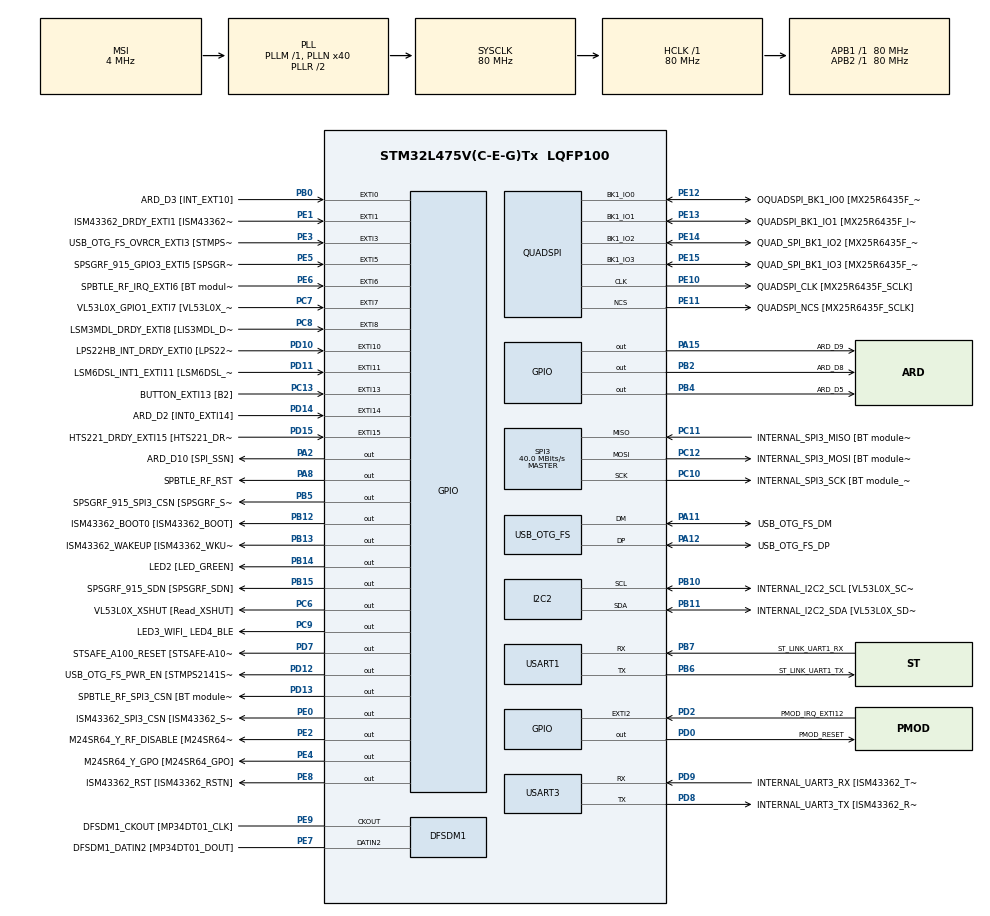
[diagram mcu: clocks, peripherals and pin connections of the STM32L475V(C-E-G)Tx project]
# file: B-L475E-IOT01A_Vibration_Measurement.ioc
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Dma.Request0=USART1_TX
Dma.USART1_TX.0.Direction=DMA_MEMORY_TO_PERIPH
Dma.USART1_TX.0.Instance=DMA1_Channel4
Dma.USART1_TX.0.MemDataAlignment=DMA_MDATAALIGN_BYTE
Dma.USART1_TX.0.MemInc=DMA_MINC_ENABLE
Dma.USART1_TX.0.Mode=DMA_NORMAL
Dma.USART1_TX.0.PeriphDataAlignment=DMA_PDATAALIGN_BYTE
Dma.USART1_TX.0.PeriphInc=DMA_PINC_DISABLE
Dma.USART1_TX.0.Priority=DMA_PRIORITY_HIGH
I2C2.Timing=0x10909CEC
Mcu.Family=STM32L4
Mcu.Name=STM32L475V(C-E-G)Tx
Mcu.Package=LQFP100
NVIC.DMA1_Channel4_IRQn=true\:0\:0\:false\:false\:true\:false\:true
NVIC.EXTI15_10_IRQn=true\:0\:0\:false\:false\:true\:true\:true
NVIC.EXTI9_5_IRQn=true\:0\:0\:false\:false\:true\:true\:true
NVIC.PriorityGroup=NVIC_PRIORITYGROUP_4
NVIC.TIM6_DAC_IRQn=true\:0\:0\:false\:false\:true\:true\:true
NVIC.USART1_IRQn=true\:0\:0\:false\:false\:true\:true\:true
PA0.GPIO_Label=ARD_D1 [UART4_TX]
PA0.Signal=UART4_TX
PA1.GPIO_Label=ARD_D0 [UART4_RX]
PA1.Signal=UART4_RX
PA10.GPIO_Label=USB_OTG_FS_ID
PA10.Signal=USB_OTG_FS_ID
PA11.GPIO_Label=USB_OTG_FS_DM
PA11.Mode=Device_Only
PA11.Signal=USB_OTG_FS_DM
PA12.GPIO_Label=USB_OTG_FS_DP
PA12.Mode=Device_Only
PA12.Signal=USB_OTG_FS_DP
PA13\ (JTMS-SWDIO).GPIO_Label=SYS_JTMS_SWDIO
PA13\ (JTMS-SWDIO).Mode=Serial_Wire
PA13\ (JTMS-SWDIO).Signal=SYS_JTMS-SWDIO
PA14\ (JTCK-SWCLK).GPIO_Label=SYS_JTCK_SWCLK
PA14\ (JTCK-SWCLK).Mode=Serial_Wire
PA14\ (JTCK-SWCLK).Signal=SYS_JTCK-SWCLK
PA15\ (JTDI).GPIO_Label=ARD_D9
PA15\ (JTDI).Signal=GPIO_Output
PA2.GPIO_Label=ARD_D10 [SPI_SSN]
PA2.Signal=GPIO_Output
PA3.GPIO_Label=ARD_D4
PA3.Signal=S_TIM2_CH4
PA4.GPIO_Label=ARD_D7
PA4.Signal=ADCx_IN9
PA5.GPIO_Label=ARD_D13 [SPI1_SCK]
PA5.Signal=SPI1_SCK
PA6.GPIO_Label=ARD_D12 [SPI1_MISO]
PA6.Signal=SPI1_MISO
PA7.GPIO_Label=ARD_D11 [SPI1_MOSI]
PA7.Signal=SPI1_MOSI
PA8.GPIO_Label=SPBTLE_RF_RST
PA8.Signal=GPIO_Output
PA9.GPIO_Label=USB_OTG_FS_VBUS [STMPS2141STR_OUT]
PA9.Signal=USB_OTG_FS_VBUS
PB0.GPIO_Label=ARD_D3 [INT_EXT10]
PB0.Signal=GPXTI0
PB1.GPIO_Label=ARD_D6 [ADC1_IN6]
PB1.Signal=ADCx_IN16
PB10.GPIO_Label=INTERNAL_I2C2_SCL [VL53L0X_SCL]
PB10.GPIO_Pu=GPIO_PULLUP
PB10.Mode=I2C
PB10.Signal=I2C2_SCL
PB11.GPIO_Label=INTERNAL_I2C2_SDA [VL53L0X_SDA]
PB11.GPIO_Pu=GPIO_PULLUP
PB11.Mode=I2C
PB11.Signal=I2C2_SDA
PB12.GPIO_Label=ISM43362_BOOT0 [ISM43362_BOOT]
PB12.Signal=GPIO_Output
PB13.GPIO_Label=ISM43362_WAKEUP [ISM43362_WKUP]
PB13.Signal=GPIO_Output
PB14.GPIO_Label=LED2 [LED_GREEN]
PB14.Signal=GPIO_Output
PB15.GPIO_Label=SPSGRF_915_SDN [SPSGRF_SDN]
PB15.Signal=GPIO_Output
PB2.GPIO_Label=ARD_D8
PB2.Signal=GPIO_Output
PB3\ (JTDO-TRACESWO).GPIO_Label=SYS_JTD0_SWO
PB3\ (JTDO-TRACESWO).Signal=SYS_JTDO-SWO
PB4\ (NJTRST).GPIO_Label=ARD_D5
PB4\ (NJTRST).Signal=GPIO_Output
PB5.GPIO_Label=SPSGRF_915_SPI3_CSN [SPSGRF_SPI_CS]
PB5.PinState=GPIO_PIN_SET
PB5.Signal=GPIO_Output
PB6.GPIO_Label=ST_LINK_UART1_TX
PB6.Mode=Asynchronous
PB6.Signal=USART1_TX
PB7.GPIO_Label=ST_LINK_UART1_RX
PB7.Mode=Asynchronous
PB7.Signal=USART1_RX
PB8.GPIO_Label=ARD_D15 [I2C1_SCL]
PB8.Signal=I2C1_SCL
PB9.GPIO_Label=ARD_D14 [I2C1_SDA]
PB9.Signal=I2C1_SDA
PC0.GPIO_Label=ARD_A5 [ADC]
PC0.Signal=ADCx_IN1
PC1.GPIO_Label=ARD_A4 [ADC]
PC1.Signal=ADCx_IN2
PC10.GPIO_Label=INTERNAL_SPI3_SCK [BT module_SPI_SCLK] [ISM43362_SCK]
PC10.Mode=Full_Duplex_Master
PC10.Signal=SPI3_SCK
PC11.GPIO_Label=INTERNAL_SPI3_MISO [BT module_SPI_MISO] [ISM43362_MISO]
PC11.Mode=Full_Duplex_Master
PC11.Signal=SPI3_MISO
PC12.GPIO_Label=INTERNAL_SPI3_MOSI [BT module_SPI_MOSI] [ISM43362_MOSI]
PC12.Mode=Full_Duplex_Master
PC12.Signal=SPI3_MOSI
PC13.GPIO_Label=BUTTON_EXTI13 [B2]
PC13.GPIO_ModeDefaultEXTI=GPIO_MODE_IT_FALLING
PC13.Signal=GPXTI13
PC14-OSC32_IN\ (PC14).Mode=LSE-External-Oscillator
PC14-OSC32_IN\ (PC14).Signal=RCC_OSC32_IN
PC15-OSC32_OUT\ (PC15).Mode=LSE-External-Oscillator
PC15-OSC32_OUT\ (PC15).Signal=RCC_OSC32_OUT
PC2.GPIO_Label=ARD_A3 [ADC]
PC2.Signal=ADCx_IN3
PC3.GPIO_Label=ARD_A2 [ADC]
PC3.Signal=ADCx_IN4
PC4.GPIO_Label=ARD_A1 [ADC]
PC4.Signal=ADCx_IN13
PC5.GPIO_Label=ARD_A0 [ADC]
PC5.Signal=ADCx_IN14
PC6.GPIO_Label=VL53L0X_XSHUT [Read_XSHUT]
PC6.Signal=GPIO_Output
PC7.GPIO_Label=VL53L0X_GPIO1_EXTI7 [VL53L0X_GPIO1]
PC7.Signal=GPXTI7
PC8.GPIO_Label=LSM3MDL_DRDY_EXTI8 [LIS3MDL_DRDY]
PC8.Signal=GPXTI8
PC9.GPIO_Label=LED3_WIFI_ LED4_BLE
PC9.Signal=GPIO_Output
PD0.GPIO_Label=PMOD_RESET
PD0.Signal=GPIO_Output
PD1.GPIO_Label=PMOD_SPI2_SCK
PD1.Signal=SPI2_SCK
PD10.GPIO_Label=LPS22HB_INT_DRDY_EXTI0 [LPS22HB_INT_DRDY] 
PD10.Signal=GPXTI10
PD11.GPIO_Label=LSM6DSL_INT1_EXTI11 [LSM6DSL_INT1]
PD11.Signal=GPXTI11
PD12.GPIO_Label=USB_OTG_FS_PWR_EN [STMPS2141STR_EN]
PD12.Signal=GPIO_Output
PD13.GPIO_Label=SPBTLE_RF_SPI3_CSN [BT module_SPI_CS]
PD13.PinState=GPIO_PIN_SET
PD13.Signal=GPIO_Output
PD14.GPIO_Label=ARD_D2 [INT0_EXTI14]
PD14.Signal=GPXTI14
PD15.GPIO_Label=HTS221_DRDY_EXTI15 [HTS221_DRDY]
PD15.Signal=GPXTI15
PD2.GPIO_Label=PMOD_IRQ_EXTI12
PD2.Signal=GPXTI2
PD3.GPIO_Label=PMOD_UART2_CTS
PD3.Signal=USART2_CTS
PD4.GPIO_Label=PMOD_UART2_RTS
PD4.Signal=USART2_RTS
PD5.GPIO_Label=PMOD_UART2_TX
PD5.Signal=USART2_TX
PD6.GPIO_Label=PMOD_UART2_RX
PD6.Signal=USART2_RX
PD7.GPIO_Label=STSAFE_A100_RESET [STSAFE-A100_RESET]
PD7.Signal=GPIO_Output
PD8.GPIO_Label=INTERNAL_UART3_TX [ISM43362_RX]
PD8.Mode=Asynchronous
PD8.Signal=USART3_TX
PD9.GPIO_Label=INTERNAL_UART3_RX [ISM43362_TX]
PD9.Mode=Asynchronous
PD9.Signal=USART3_RX
PE0.GPIO_Label=ISM43362_SPI3_CSN [ISM43362_SSN]
PE0.PinState=GPIO_PIN_SET
PE0.Signal=GPIO_Output
PE1.GPIO_Label=ISM43362_DRDY_EXTI1 [ISM43362_DATARDY]
PE1.Signal=GPXTI1
PE10.GPIO_Label=QUADSPI_CLK [MX25R6435F_SCLK]
PE10.Mode=Single Bank
PE10.Signal=QUADSPI_CLK
PE11.GPIO_Label=QUADSPI_NCS [MX25R6435F_SCLK]
PE11.Mode=Single Bank
PE11.Signal=QUADSPI_NCS
PE12.GPIO_Label=OQUADSPI_BK1_IO0 [MX25R6435F_IO0]
PE12.Mode=Single Bank
PE12.Signal=QUADSPI_BK1_IO0
PE13.GPIO_Label=QUADSPI_BK1_IO1 [MX25R6435F_IO1]
PE13.Mode=Single Bank
PE13.Signal=QUADSPI_BK1_IO1
PE14.GPIO_Label=QUAD_SPI_BK1_IO2 [MX25R6435F_IO2]
PE14.Mode=Single Bank
PE14.Signal=QUADSPI_BK1_IO2
PE15.GPIO_Label=QUAD_SPI_BK1_IO3 [MX25R6435F_IO3]
PE15.Mode=Single Bank
PE15.Signal=QUADSPI_BK1_IO3
PE2.GPIO_Label=M24SR64_Y_RF_DISABLE [M24SR64_RFDIS]
PE2.Signal=GPIO_Output
PE3.GPIO_Label=USB_OTG_FS_OVRCR_EXTI3 [STMPS2141STR_FAULT]
PE3.Signal=GPXTI3
PE4.GPIO_Label=M24SR64_Y_GPO [M24SR64_GPO]
PE4.Signal=GPIO_Output
PE5.GPIO_Label=SPSGRF_915_GPIO3_EXTI5 [SPSGRF_GPIO_3]
PE5.Signal=GPXTI5
PE6.GPIO_Label=SPBTLE_RF_IRQ_EXTI6 [BT module_SPI_IRQ]
PE6.Signal=GPXTI6
PE7.GPIO_Label=DFSDM1_DATIN2 [MP34DT01_DOUT]
PE7.Signal=S_DATAIN2DFSDM1
PE8.GPIO_Label=ISM43362_RST [ISM43362_RSTN]
PE8.Signal=GPIO_Output
PE9.GPIO_Label=DFSDM1_CKOUT [MP34DT01_CLK]
PE9.Signal=S_CKOUTDFSDM1
ProjectManager.HeapSize=0x200
ProjectManager.StackSize=0x400
ProjectManager.TargetToolchain=STM32CubeIDE
QUADSPI.ClockPrescaler=2
QUADSPI.FifoThreshold=4
QUADSPI.FlashSize=23
QUADSPI.SampleShifting=QSPI_SAMPLE_SHIFTING_HALFCYCLE
RCC.ADCFreq_Value=48000000
RCC.AHBFreq_Value=80000000
RCC.APB1Freq_Value=80000000
RCC.APB1TimFreq_Value=80000000
RCC.APB2Freq_Value=80000000
RCC.APB2TimFreq_Value=80000000
RCC.CortexFreq_Value=80000000
RCC.HCLKFreq_Value=80000000
RCC.HSE_VALUE=8000000
RCC.HSI_VALUE=16000000
RCC.MSI_VALUE=4000000
RCC.PLLN=40
RCC.PLLSAI1N=24
RCC.SYSCLKFreq_VALUE=80000000
RCC.SYSCLKSource=RCC_SYSCLKSOURCE_PLLCLK
RCC.USBFreq_Value=48000000
RCC.VCOOutputFreq_Value=160000000
SH.ADCx_IN1.0=ADC1_IN1
SH.ADCx_IN13.0=ADC1_IN13
SH.ADCx_IN14.0=ADC1_IN14
SH.ADCx_IN16.0=ADC1_IN16
SH.ADCx_IN2.0=ADC1_IN2
SH.ADCx_IN3.0=ADC1_IN3
SH.ADCx_IN4.0=ADC1_IN4
SH.ADCx_IN9.0=ADC1_IN9
SH.S_CKOUTDFSDM1.0=DFSDM1_CKOUT,CKOUT
SH.S_CKOUTDFSDM1.1=DFSDM1_CKOUT,PDM_SPI_Input_from_ch12_and_Internal_Clock
SH.S_DATAIN2DFSDM1.0=DFSDM1_DATIN2,PDM_SPI_Input_from_ch12_and_Internal_Clock
SH.S_TIM2_CH4.0=TIM2_CH4
SPI3.CalculateBaudRate=40.0 MBits/s
SPI3.Direction=SPI_DIRECTION_2LINES
SPI3.Mode=SPI_MODE_MASTER
SPI3.VirtualType=VM_MASTER
TIM6.AutoReloadPreload=TIM_AUTORELOAD_PRELOAD_ENABLE
TIM6.Period=399
TIM6.Prescaler=1999
USART1.VirtualMode-Asynchronous=VM_ASYNC
USART3.VirtualMode-Asynchronous=VM_ASYNC
USB_OTG_FS.VirtualMode=Device_Only
VP_TIM6_VS_ClockSourceINT.Mode=Enable_Timer
board=B-L475E-IOT01A1

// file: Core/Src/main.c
/* USER CODE BEGIN Header */
/**
  ******************************************************************************
  * @file           : main.c
  * @brief          : Main program body
  ******************************************************************************
  * @attention
  *
  * <h2><center>&copy; Copyright (c) 2021 STMicroelectronics.
  * All rights reserved.</center></h2>
  *
  * This software component is licensed by ST under BSD 3-Clause license,
  * the "License"; You may not use this file except in compliance with the
  * License. You may obtain a copy of the License at:
  *                        opensource.org/licenses/BSD-3-Clause
  *
  ******************************************************************************
  */
/* USER CODE END Header */
#include "main.h"

/* USER CODE BEGIN Includes */
#include "stm32l475e_iot01.h"
#include "stm32l475e_iot01_accelero.h"
#include "math.h"
#include "stdio.h"
#include "stdlib.h"
#include "string.h"
/* USER CODE END Includes */

DFSDM_Channel_HandleTypeDef hdfsdm1_channel1;

I2C_HandleTypeDef hi2c2;

QSPI_HandleTypeDef hqspi;

SPI_HandleTypeDef hspi3;

TIM_HandleTypeDef htim6;

UART_HandleTypeDef huart1;
UART_HandleTypeDef huart3;
DMA_HandleTypeDef hdma_usart1_tx;

PCD_HandleTypeDef hpcd_USB_OTG_FS;

/* USER CODE BEGIN PV */
short int pAccelData[3];
short int iAccelValX = 0;    // Accelerometer value in X-axis
short int iAccelValY = 0;    // Accelerometer value in Y-axis
short int iAccelValZ = 0;	 // Accelerometer value in Z-axis
/* USER CODE END PV */

void SystemClock_Config(void);
static void MX_GPIO_Init(void);
static void MX_DFSDM1_Init(void);
static void MX_I2C2_Init(void);
static void MX_QUADSPI_Init(void);
static void MX_SPI3_Init(void);
static void MX_USART1_UART_Init(void);
static void MX_USART3_UART_Init(void);
static void MX_USB_OTG_FS_PCD_Init(void);
static void MX_DMA_Init(void);
static void MX_TIM6_Init(void);

int main(void)
{

  /* MCU Configuration--------------------------------------------------------*/

  /* Reset of all peripherals, Initializes the Flash interface and the Systick. */
  HAL_Init();

  /* Configure the system clock */
  SystemClock_Config();

  /* Initialize all configured peripherals */
  MX_GPIO_Init();
  MX_DFSDM1_Init();
  MX_I2C2_Init();
  MX_QUADSPI_Init();
  MX_SPI3_Init();
  MX_USART1_UART_Init();
  MX_USART3_UART_Init();
  MX_USB_OTG_FS_PCD_Init();
  MX_DMA_Init();
  MX_TIM6_Init();
  /* USER CODE BEGIN 2 */
  // Initialize the LSM6DSL Accelerometer
  BSP_ACCELERO_Init();
  BSP_ACCELERO_LowPower(0);
  // Initialize the LED
  BSP_LED_Init(LED2);
  // Start Timer
  HAL_TIM_Base_Start_IT(&htim6);

  HAL_UART_Transmit(&huart1, "SYSTEM OK\r\n", 12, 1000);
  /* USER CODE END 2 */

  /* Infinite loop */
  /* USER CODE BEGIN WHILE */
  char str_tmp[64] = "";
  while (1)
  {
    /* USER CODE END WHILE */

    /* USER CODE BEGIN 3 */
	// Max Scale is +/-2 G and ODR is 52 Hz

	// Begin processing
	BSP_ACCELERO_AccGetXYZ(pAccelData);

	// Fetch each axis data
	iAccelValX = pAccelData[0];
	iAccelValY = pAccelData[1];
	iAccelValZ = pAccelData[2];

	// Format into string
	snprintf(str_tmp, 64, "%d,%d,%d\r\n", iAccelValX, iAccelValY, iAccelValZ);

	// Send to PC
	HAL_UART_Transmit(&huart1, (unsigned char*)str_tmp, strlen(str_tmp), 1000);

	BSP_LED_Toggle(LED2);
	HAL_Delay(20);
  }
  /* USER CODE END 3 */
}

void SystemClock_Config(void)
{
  RCC_OscInitTypeDef RCC_OscInitStruct = {0};
  RCC_ClkInitTypeDef RCC_ClkInitStruct = {0};

  /** Configure the main internal regulator output voltage
  */
  if (HAL_PWREx_ControlVoltageScaling(PWR_REGULATOR_VOLTAGE_SCALE1) != HAL_OK)
  {
    Error_Handler();
  }
  /** Configure LSE Drive Capability
  */
  HAL_PWR_EnableBkUpAccess();
  __HAL_RCC_LSEDRIVE_CONFIG(RCC_LSEDRIVE_LOW);
  /** Initializes the RCC Oscillators according to the specified parameters
  * in the RCC_OscInitTypeDef structure.
  */
  RCC_OscInitStruct.OscillatorType = RCC_OSCILLATORTYPE_LSE|RCC_OSCILLATORTYPE_MSI;
  RCC_OscInitStruct.LSEState = RCC_LSE_ON;
  RCC_OscInitStruct.MSIState = RCC_MSI_ON;
  RCC_OscInitStruct.MSICalibrationValue = 0;
  RCC_OscInitStruct.MSIClockRange = RCC_MSIRANGE_6;
  RCC_OscInitStruct.PLL.PLLState = RCC_PLL_ON;
  RCC_OscInitStruct.PLL.PLLSource = RCC_PLLSOURCE_MSI;
  RCC_OscInitStruct.PLL.PLLM = 1;
  RCC_OscInitStruct.PLL.PLLN = 40;
  RCC_OscInitStruct.PLL.PLLP = RCC_PLLP_DIV7;
  RCC_OscInitStruct.PLL.PLLQ = RCC_PLLQ_DIV2;
  RCC_OscInitStruct.PLL.PLLR = RCC_PLLR_DIV2;
  if (HAL_RCC_OscConfig(&RCC_OscInitStruct) != HAL_OK)
  {
    Error_Handler();
  }
  /** Initializes the CPU, AHB and APB buses clocks
  */
  RCC_ClkInitStruct.ClockType = RCC_CLOCKTYPE_HCLK|RCC_CLOCKTYPE_SYSCLK
                              |RCC_CLOCKTYPE_PCLK1|RCC_CLOCKTYPE_PCLK2;
  RCC_ClkInitStruct.SYSCLKSource = RCC_SYSCLKSOURCE_PLLCLK;
  RCC_ClkInitStruct.AHBCLKDivider = RCC_SYSCLK_DIV1;
  RCC_ClkInitStruct.APB1CLKDivider = RCC_HCLK_DIV1;
  RCC_ClkInitStruct.APB2CLKDivider = RCC_HCLK_DIV1;

  if (HAL_RCC_ClockConfig(&RCC_ClkInitStruct, FLASH_LATENCY_4) != HAL_OK)
  {
    Error_Handler();
  }
  /** Enable MSI Auto calibration
  */
  HAL_RCCEx_EnableMSIPLLMode();
}

static void MX_DFSDM1_Init(void)
{

  hdfsdm1_channel1.Instance = DFSDM1_Channel1;
  hdfsdm1_channel1.Init.OutputClock.Activation = ENABLE;
  hdfsdm1_channel1.Init.OutputClock.Selection = DFSDM_CHANNEL_OUTPUT_CLOCK_SYSTEM;
  hdfsdm1_channel1.Init.OutputClock.Divider = 2;
  hdfsdm1_channel1.Init.Input.Multiplexer = DFSDM_CHANNEL_EXTERNAL_INPUTS;
  hdfsdm1_channel1.Init.Input.DataPacking = DFSDM_CHANNEL_STANDARD_MODE;
  hdfsdm1_channel1.Init.Input.Pins = DFSDM_CHANNEL_FOLLOWING_CHANNEL_PINS;
  hdfsdm1_channel1.Init.SerialInterface.Type = DFSDM_CHANNEL_SPI_RISING;
  hdfsdm1_channel1.Init.SerialInterface.SpiClock = DFSDM_CHANNEL_SPI_CLOCK_INTERNAL;
  hdfsdm1_channel1.Init.Awd.FilterOrder = DFSDM_CHANNEL_FASTSINC_ORDER;
  hdfsdm1_channel1.Init.Awd.Oversampling = 1;
  hdfsdm1_channel1.Init.Offset = 0;
  hdfsdm1_channel1.Init.RightBitShift = 0x00;
  if (HAL_DFSDM_ChannelInit(&hdfsdm1_channel1) != HAL_OK)
  {
    Error_Handler();
  }

}

static void MX_I2C2_Init(void)
{

  hi2c2.Instance = I2C2;
  hi2c2.Init.Timing = 0x10909CEC;
  hi2c2.Init.OwnAddress1 = 0;
  hi2c2.Init.AddressingMode = I2C_ADDRESSINGMODE_7BIT;
  hi2c2.Init.DualAddressMode = I2C_DUALADDRESS_DISABLE;
  hi2c2.Init.OwnAddress2 = 0;
  hi2c2.Init.OwnAddress2Masks = I2C_OA2_NOMASK;
  hi2c2.Init.GeneralCallMode = I2C_GENERALCALL_DISABLE;
  hi2c2.Init.NoStretchMode = I2C_NOSTRETCH_DISABLE;
  if (HAL_I2C_Init(&hi2c2) != HAL_OK)
  {
    Error_Handler();
  }
  /** Configure Analogue filter
  */
  if (HAL_I2CEx_ConfigAnalogFilter(&hi2c2, I2C_ANALOGFILTER_ENABLE) != HAL_OK)
  {
    Error_Handler();
  }
  /** Configure Digital filter
  */
  if (HAL_I2CEx_ConfigDigitalFilter(&hi2c2, 0) != HAL_OK)
  {
    Error_Handler();
  }

}

static void MX_QUADSPI_Init(void)
{

  /* QUADSPI parameter configuration*/
  hqspi.Instance = QUADSPI;
  hqspi.Init.ClockPrescaler = 2;
  hqspi.Init.FifoThreshold = 4;
  hqspi.Init.SampleShifting = QSPI_SAMPLE_SHIFTING_HALFCYCLE;
  hqspi.Init.FlashSize = 23;
  hqspi.Init.ChipSelectHighTime = QSPI_CS_HIGH_TIME_1_CYCLE;
  hqspi.Init.ClockMode = QSPI_CLOCK_MODE_0;
  if (HAL_QSPI_Init(&hqspi) != HAL_OK)
  {
    Error_Handler();
  }

}

static void MX_SPI3_Init(void)
{

  /* SPI3 parameter configuration*/
  hspi3.Instance = SPI3;
  hspi3.Init.Mode = SPI_MODE_MASTER;
  hspi3.Init.Direction = SPI_DIRECTION_2LINES;
  hspi3.Init.DataSize = SPI_DATASIZE_4BIT;
  hspi3.Init.CLKPolarity = SPI_POLARITY_LOW;
  hspi3.Init.CLKPhase = SPI_PHASE_1EDGE;
  hspi3.Init.NSS = SPI_NSS_SOFT;
  hspi3.Init.BaudRatePrescaler = SPI_BAUDRATEPRESCALER_2;
  hspi3.Init.FirstBit = SPI_FIRSTBIT_MSB;
  hspi3.Init.TIMode = SPI_TIMODE_DISABLE;
  hspi3.Init.CRCCalculation = SPI_CRCCALCULATION_DISABLE;
  hspi3.Init.CRCPolynomial = 7;
  hspi3.Init.CRCLength = SPI_CRC_LENGTH_DATASIZE;
  hspi3.Init.NSSPMode = SPI_NSS_PULSE_ENABLE;
  if (HAL_SPI_Init(&hspi3) != HAL_OK)
  {
    Error_Handler();
  }

}

static void MX_TIM6_Init(void)
{

  TIM_MasterConfigTypeDef sMasterConfig = {0};

  htim6.Instance = TIM6;
  htim6.Init.Prescaler = 1999;
  htim6.Init.CounterMode = TIM_COUNTERMODE_UP;
  htim6.Init.Period = 399;
  htim6.Init.AutoReloadPreload = TIM_AUTORELOAD_PRELOAD_ENABLE;
  if (HAL_TIM_Base_Init(&htim6) != HAL_OK)
  {
    Error_Handler();
  }
  sMasterConfig.MasterOutputTrigger = TIM_TRGO_RESET;
  sMasterConfig.MasterSlaveMode = TIM_MASTERSLAVEMODE_DISABLE;
  if (HAL_TIMEx_MasterConfigSynchronization(&htim6, &sMasterConfig) != HAL_OK)
  {
    Error_Handler();
  }

}

static void MX_USART1_UART_Init(void)
{

  huart1.Instance = USART1;
  huart1.Init.BaudRate = 115200;
  huart1.Init.WordLength = UART_WORDLENGTH_8B;
  huart1.Init.StopBits = UART_STOPBITS_1;
  huart1.Init.Parity = UART_PARITY_NONE;
  huart1.Init.Mode = UART_MODE_TX_RX;
  huart1.Init.HwFlowCtl = UART_HWCONTROL_NONE;
  huart1.Init.OverSampling = UART_OVERSAMPLING_16;
  huart1.Init.OneBitSampling = UART_ONE_BIT_SAMPLE_DISABLE;
  huart1.AdvancedInit.AdvFeatureInit = UART_ADVFEATURE_NO_INIT;
  if (HAL_UART_Init(&huart1) != HAL_OK)
  {
    Error_Handler();
  }

}

static void MX_USART3_UART_Init(void)
{

  huart3.Instance = USART3;
  huart3.Init.BaudRate = 115200;
  huart3.Init.WordLength = UART_WORDLENGTH_8B;
  huart3.Init.StopBits = UART_STOPBITS_1;
  huart3.Init.Parity = UART_PARITY_NONE;
  huart3.Init.Mode = UART_MODE_TX_RX;
  huart3.Init.HwFlowCtl = UART_HWCONTROL_NONE;
  huart3.Init.OverSampling = UART_OVERSAMPLING_16;
  huart3.Init.OneBitSampling = UART_ONE_BIT_SAMPLE_DISABLE;
  huart3.AdvancedInit.AdvFeatureInit = UART_ADVFEATURE_NO_INIT;
  if (HAL_UART_Init(&huart3) != HAL_OK)
  {
    Error_Handler();
  }

}

static void MX_USB_OTG_FS_PCD_Init(void)
{

  hpcd_USB_OTG_FS.Instance = USB_OTG_FS;
  hpcd_USB_OTG_FS.Init.dev_endpoints = 6;
  hpcd_USB_OTG_FS.Init.speed = PCD_SPEED_FULL;
  hpcd_USB_OTG_FS.Init.phy_itface = PCD_PHY_EMBEDDED;
  hpcd_USB_OTG_FS.Init.Sof_enable = DISABLE;
  hpcd_USB_OTG_FS.Init.low_power_enable = DISABLE;
  hpcd_USB_OTG_FS.Init.lpm_enable = DISABLE;
  hpcd_USB_OTG_FS.Init.battery_charging_enable = DISABLE;
  hpcd_USB_OTG_FS.Init.use_dedicated_ep1 = DISABLE;
  hpcd_USB_OTG_FS.Init.vbus_sensing_enable = DISABLE;
  if (HAL_PCD_Init(&hpcd_USB_OTG_FS) != HAL_OK)
  {
    Error_Handler();
  }

}

static void MX_DMA_Init(void)
{

  /* DMA controller clock enable */
  __HAL_RCC_DMA1_CLK_ENABLE();

  /* DMA interrupt init */
  /* DMA1_Channel4_IRQn interrupt configuration */
  HAL_NVIC_SetPriority(DMA1_Channel4_IRQn, 0, 0);
  HAL_NVIC_EnableIRQ(DMA1_Channel4_IRQn);

}

static void MX_GPIO_Init(void)
{
  GPIO_InitTypeDef GPIO_InitStruct = {0};

  /* GPIO Ports Clock Enable */
  __HAL_RCC_GPIOE_CLK_ENABLE();
  __HAL_RCC_GPIOC_CLK_ENABLE();
  __HAL_RCC_GPIOA_CLK_ENABLE();
  __HAL_RCC_GPIOB_CLK_ENABLE();
  __HAL_RCC_GPIOD_CLK_ENABLE();

  /*Configure GPIO pin Output Level */
  HAL_GPIO_WritePin(GPIOE, M24SR64_Y_RF_DISABLE_Pin|M24SR64_Y_GPO_Pin|ISM43362_RST_Pin, GPIO_PIN_RESET);

  /*Configure GPIO pin Output Level */
  HAL_GPIO_WritePin(GPIOA, ARD_D10_Pin|SPBTLE_RF_RST_Pin|ARD_D9_Pin, GPIO_PIN_RESET);

  /*Configure GPIO pin Output Level */
  HAL_GPIO_WritePin(GPIOB, ARD_D8_Pin|ISM43362_BOOT0_Pin|ISM43362_WAKEUP_Pin|LED2_Pin
                          |SPSGRF_915_SDN_Pin|ARD_D5_Pin, GPIO_PIN_RESET);

  /*Configure GPIO pin Output Level */
  HAL_GPIO_WritePin(GPIOD, USB_OTG_FS_PWR_EN_Pin|PMOD_RESET_Pin|STSAFE_A100_RESET_Pin, GPIO_PIN_RESET);

  /*Configure GPIO pin Output Level */
  HAL_GPIO_WritePin(SPBTLE_RF_SPI3_CSN_GPIO_Port, SPBTLE_RF_SPI3_CSN_Pin, GPIO_PIN_SET);

  /*Configure GPIO pin Output Level */
  HAL_GPIO_WritePin(GPIOC, VL53L0X_XSHUT_Pin|LED3_WIFI__LED4_BLE_Pin, GPIO_PIN_RESET);

  /*Configure GPIO pin Output Level */
  HAL_GPIO_WritePin(SPSGRF_915_SPI3_CSN_GPIO_Port, SPSGRF_915_SPI3_CSN_Pin, GPIO_PIN_SET);

  /*Configure GPIO pin Output Level */
  HAL_GPIO_WritePin(ISM43362_SPI3_CSN_GPIO_Port, ISM43362_SPI3_CSN_Pin, GPIO_PIN_SET);

  /*Configure GPIO pins : M24SR64_Y_RF_DISABLE_Pin M24SR64_Y_GPO_Pin ISM43362_RST_Pin ISM43362_SPI3_CSN_Pin */
  GPIO_InitStruct.Pin = M24SR64_Y_RF_DISABLE_Pin|M24SR64_Y_GPO_Pin|ISM43362_RST_Pin|ISM43362_SPI3_CSN_Pin;
  GPIO_InitStruct.Mode = GPIO_MODE_OUTPUT_PP;
  GPIO_InitStruct.Pull = GPIO_NOPULL;
  GPIO_InitStruct.Speed = GPIO_SPEED_FREQ_LOW;
  HAL_GPIO_Init(GPIOE, &GPIO_InitStruct);

  /*Configure GPIO pins : USB_OTG_FS_OVRCR_EXTI3_Pin SPSGRF_915_GPIO3_EXTI5_Pin SPBTLE_RF_IRQ_EXTI6_Pin ISM43362_DRDY_EXTI1_Pin */
  GPIO_InitStruct.Pin = USB_OTG_FS_OVRCR_EXTI3_Pin|SPSGRF_915_GPIO3_EXTI5_Pin|SPBTLE_RF_IRQ_EXTI6_Pin|ISM43362_DRDY_EXTI1_Pin;
  GPIO_InitStruct.Mode = GPIO_MODE_IT_RISING;
  GPIO_InitStruct.Pull = GPIO_NOPULL;
  HAL_GPIO_Init(GPIOE, &GPIO_InitStruct);

  /*Configure GPIO pin : BUTTON_EXTI13_Pin */
  GPIO_InitStruct.Pin = BUTTON_EXTI13_Pin;
  GPIO_InitStruct.Mode = GPIO_MODE_IT_FALLING;
  GPIO_InitStruct.Pull = GPIO_NOPULL;
  HAL_GPIO_Init(BUTTON_EXTI13_GPIO_Port, &GPIO_InitStruct);

  /*Configure GPIO pins : ARD_A5_Pin ARD_A4_Pin ARD_A3_Pin ARD_A2_Pin
                           ARD_A1_Pin ARD_A0_Pin */
  GPIO_InitStruct.Pin = ARD_A5_Pin|ARD_A4_Pin|ARD_A3_Pin|ARD_A2_Pin
                          |ARD_A1_Pin|ARD_A0_Pin;
  GPIO_InitStruct.Mode = GPIO_MODE_ANALOG_ADC_CONTROL;
  GPIO_InitStruct.Pull = GPIO_NOPULL;
  HAL_GPIO_Init(GPIOC, &GPIO_InitStruct);

  /*Configure GPIO pins : ARD_D1_Pin ARD_D0_Pin */
  GPIO_InitStruct.Pin = ARD_D1_Pin|ARD_D0_Pin;
  GPIO_InitStruct.Mode = GPIO_MODE_AF_PP;
  GPIO_InitStruct.Pull = GPIO_NOPULL;
  GPIO_InitStruct.Speed = GPIO_SPEED_FREQ_VERY_HIGH;
  GPIO_InitStruct.Alternate = GPIO_AF8_UART4;
  HAL_GPIO_Init(GPIOA, &GPIO_InitStruct);

  /*Configure GPIO pins : ARD_D10_Pin SPBTLE_RF_RST_Pin ARD_D9_Pin */
  GPIO_InitStruct.Pin = ARD_D10_Pin|SPBTLE_RF_RST_Pin|ARD_D9_Pin;
  GPIO_InitStruct.Mode = GPIO_MODE_OUTPUT_PP;
  GPIO_InitStruct.Pull = GPIO_NOPULL;
  GPIO_InitStruct.Speed = GPIO_SPEED_FREQ_LOW;
  HAL_GPIO_Init(GPIOA, &GPIO_InitStruct);

  /*Configure GPIO pin : ARD_D4_Pin */
  GPIO_InitStruct.Pin = ARD_D4_Pin;
  GPIO_InitStruct.Mode = GPIO_MODE_AF_PP;
  GPIO_InitStruct.Pull = GPIO_NOPULL;
  GPIO_InitStruct.Speed = GPIO_SPEED_FREQ_LOW;
  GPIO_InitStruct.Alternate = GPIO_AF1_TIM2;
  HAL_GPIO_Init(ARD_D4_GPIO_Port, &GPIO_InitStruct);

  /*Configure GPIO pin : ARD_D7_Pin */
  GPIO_InitStruct.Pin = ARD_D7_Pin;
  GPIO_InitStruct.Mode = GPIO_MODE_ANALOG_ADC_CONTROL;
  GPIO_InitStruct.Pull = GPIO_NOPULL;
  HAL_GPIO_Init(ARD_D7_GPIO_Port, &GPIO_InitStruct);

  /*Configure GPIO pins : ARD_D13_Pin ARD_D12_Pin ARD_D11_Pin */
  GPIO_InitStruct.Pin = ARD_D13_Pin|ARD_D12_Pin|ARD_D11_Pin;
  GPIO_InitStruct.Mode = GPIO_MODE_AF_PP;
  GPIO_InitStruct.Pull = GPIO_NOPULL;
  GPIO_InitStruct.Speed = GPIO_SPEED_FREQ_VERY_HIGH;
  GPIO_InitStruct.Alternate = GPIO_AF5_SPI1;
  HAL_GPIO_Init(GPIOA, &GPIO_InitStruct);

  /*Configure GPIO pin : ARD_D3_Pin */
  GPIO_InitStruct.Pin = ARD_D3_Pin;
  GPIO_InitStruct.Mode = GPIO_MODE_IT_RISING;
  GPIO_InitStruct.Pull = GPIO_NOPULL;
  HAL_GPIO_Init(ARD_D3_GPIO_Port, &GPIO_InitStruct);

  /*Configure GPIO pin : ARD_D6_Pin */
  GPIO_InitStruct.Pin = ARD_D6_Pin;
  GPIO_InitStruct.Mode = GPIO_MODE_ANALOG_ADC_CONTROL;
  GPIO_InitStruct.Pull = GPIO_NOPULL;
  HAL_GPIO_Init(ARD_D6_GPIO_Port, &GPIO_InitStruct);

  /*Configure GPIO pins : ARD_D8_Pin ISM43362_BOOT0_Pin ISM43362_WAKEUP_Pin LED2_Pin
                           SPSGRF_915_SDN_Pin ARD_D5_Pin SPSGRF_915_SPI3_CSN_Pin */
  GPIO_InitStruct.Pin = ARD_D8_Pin|ISM43362_BOOT0_Pin|ISM43362_WAKEUP_Pin|LED2_Pin
                          |SPSGRF_915_SDN_Pin|ARD_D5_Pin|SPSGRF_915_SPI3_CSN_Pin;
  GPIO_InitStruct.Mode = GPIO_MODE_OUTPUT_PP;
  GPIO_InitStruct.Pull = GPIO_NOPULL;
  GPIO_InitStruct.Speed = GPIO_SPEED_FREQ_LOW;
  HAL_GPIO_Init(GPIOB, &GPIO_InitStruct);

  /*Configure GPIO pins : LPS22HB_INT_DRDY_EXTI0_Pin LSM6DSL_INT1_EXTI11_Pin ARD_D2_Pin HTS221_DRDY_EXTI15_Pin
                           PMOD_IRQ_EXTI12_Pin */
  GPIO_InitStruct.Pin = LPS22HB_INT_DRDY_EXTI0_Pin|LSM6DSL_INT1_EXTI11_Pin|ARD_D2_Pin|HTS221_DRDY_EXTI15_Pin
                          |PMOD_IRQ_EXTI12_Pin;
  GPIO_InitStruct.Mode = GPIO_MODE_IT_RISING;
  GPIO_InitStruct.Pull = GPIO_NOPULL;
  HAL_GPIO_Init(GPIOD, &GPIO_InitStruct);

  /*Configure GPIO pins : USB_OTG_FS_PWR_EN_Pin SPBTLE_RF_SPI3_CSN_Pin PMOD_RESET_Pin STSAFE_A100_RESET_Pin */
  GPIO_InitStruct.Pin = USB_OTG_FS_PWR_EN_Pin|SPBTLE_RF_SPI3_CSN_Pin|PMOD_RESET_Pin|STSAFE_A100_RESET_Pin;
  GPIO_InitStruct.Mode = GPIO_MODE_OUTPUT_PP;
  GPIO_InitStruct.Pull = GPIO_NOPULL;
  GPIO_InitStruct.Speed = GPIO_SPEED_FREQ_LOW;
  HAL_GPIO_Init(GPIOD, &GPIO_InitStruct);

  /*Configure GPIO pins : VL53L0X_XSHUT_Pin LED3_WIFI__LED4_BLE_Pin */
  GPIO_InitStruct.Pin = VL53L0X_XSHUT_Pin|LED3_WIFI__LED4_BLE_Pin;
  GPIO_InitStruct.Mode = GPIO_MODE_OUTPUT_PP;
  GPIO_InitStruct.Pull = GPIO_NOPULL;
  GPIO_InitStruct.Speed = GPIO_SPEED_FREQ_LOW;
  HAL_GPIO_Init(GPIOC, &GPIO_InitStruct);

  /*Configure GPIO pins : VL53L0X_GPIO1_EXTI7_Pin LSM3MDL_DRDY_EXTI8_Pin */
  GPIO_InitStruct.Pin = VL53L0X_GPIO1_EXTI7_Pin|LSM3MDL_DRDY_EXTI8_Pin;
  GPIO_InitStruct.Mode = GPIO_MODE_IT_RISING;
  GPIO_InitStruct.Pull = GPIO_NOPULL;
  HAL_GPIO_Init(GPIOC, &GPIO_InitStruct);

  /*Configure GPIO pin : PMOD_SPI2_SCK_Pin */
  GPIO_InitStruct.Pin = PMOD_SPI2_SCK_Pin;
  GPIO_InitStruct.Mode = GPIO_MODE_AF_PP;
  GPIO_InitStruct.Pull = GPIO_NOPULL;
  GPIO_InitStruct.Speed = GPIO_SPEED_FREQ_VERY_HIGH;
  GPIO_InitStruct.Alternate = GPIO_AF5_SPI2;
  HAL_GPIO_Init(PMOD_SPI2_SCK_GPIO_Port, &GPIO_InitStruct);

  /*Configure GPIO pins : PMOD_UART2_CTS_Pin PMOD_UART2_RTS_Pin PMOD_UART2_TX_Pin PMOD_UART2_RX_Pin */
  GPIO_InitStruct.Pin = PMOD_UART2_CTS_Pin|PMOD_UART2_RTS_Pin|PMOD_UART2_TX_Pin|PMOD_UART2_RX_Pin;
  GPIO_InitStruct.Mode = GPIO_MODE_AF_PP;
  GPIO_InitStruct.Pull = GPIO_NOPULL;
  GPIO_InitStruct.Speed = GPIO_SPEED_FREQ_VERY_HIGH;
  GPIO_InitStruct.Alternate = GPIO_AF7_USART2;
  HAL_GPIO_Init(GPIOD, &GPIO_InitStruct);

  /*Configure GPIO pins : ARD_D15_Pin ARD_D14_Pin */
  GPIO_InitStruct.Pin = ARD_D15_Pin|ARD_D14_Pin;
  GPIO_InitStruct.Mode = GPIO_MODE_AF_OD;
  GPIO_InitStruct.Pull = GPIO_NOPULL;
  GPIO_InitStruct.Speed = GPIO_SPEED_FREQ_VERY_HIGH;
  GPIO_InitStruct.Alternate = GPIO_AF4_I2C1;
  HAL_GPIO_Init(GPIOB, &GPIO_InitStruct);

  /* EXTI interrupt init*/
  HAL_NVIC_SetPriority(EXTI9_5_IRQn, 0, 0);
  HAL_NVIC_EnableIRQ(EXTI9_5_IRQn);

  HAL_NVIC_SetPriority(EXTI15_10_IRQn, 0, 0);
  HAL_NVIC_EnableIRQ(EXTI15_10_IRQn);

}

/* USER CODE BEGIN 4 */
void HAL_TIM_PeriodElapsedCallback(TIM_HandleTypeDef* htim)
{
	// Callback function when TIM6 period elapsed (10 ms)
	if(htim->Instance == TIM6)
	{

	}
}
/* USER CODE END 4 */

void Error_Handler(void)
{
  __disable_irq();
  while (1)
  {
  }
}

/************************ (C) COPYRIGHT STMicroelectronics *****END OF FILE****/
